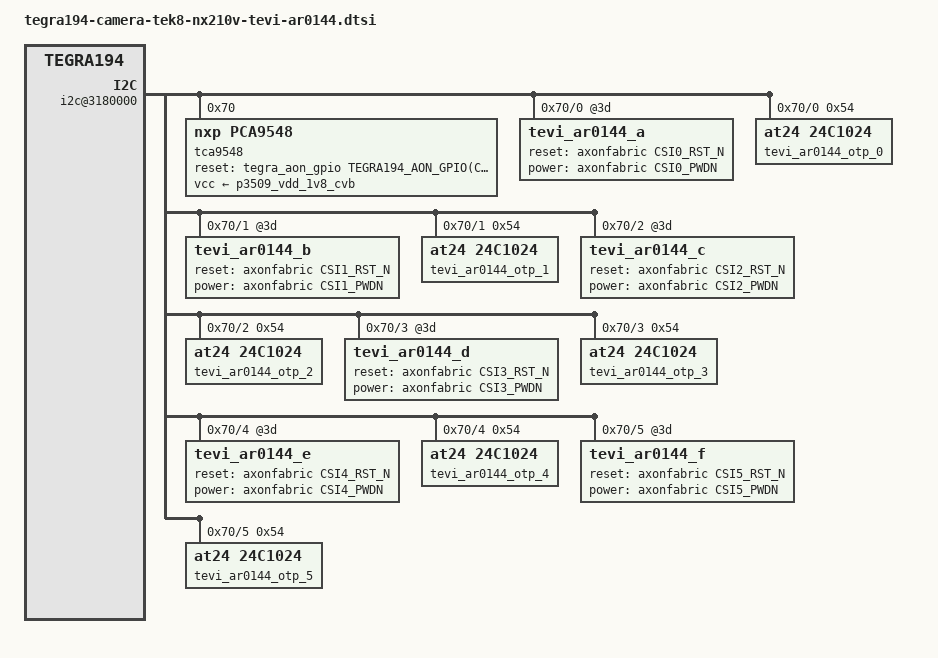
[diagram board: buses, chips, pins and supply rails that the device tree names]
/*
 * Copyright (c) 2021, NVIDIA CORPORATION.  All rights reserved.
 *
 * This program is free software; you can redistribute it and/or modify
 * it under the terms of the GNU General Public License as published by
 * the Free Software Foundation; either version 2 of the License, or
 * (at your option) any later version.
 *
 * This program is distributed in the hope that it will be useful, but WITHOUT
 * ANY WARRANTY; without even the implied warranty of MERCHANTABILITY or
 * FITNESS FOR A PARTICULAR PURPOSE.  See the GNU General Public License for
 * more details.
 *
 * You should have received a copy of the GNU General Public License
 * along with this program.  If not, see <http://www.gnu.org/licenses/>.
 */

#include "tegra194-camera-tek8-tevi-ar0144.dtsi"

//Define GPIO number for axonfabric
#define CSI0_RST_N	80
#define CSI0_PWDN       81
#define CSI1_RST_N	84
#define CSI1_PWDN       85
#define CSI2_RST_N	88
#define CSI2_PWDN       89
#define CSI3_RST_N      92
#define CSI3_PWDN       93
#define CSI4_RST_N	96
#define CSI4_PWDN       97
#define CSI5_RST_N      100
#define CSI5_PWDN       101
#define CAMERA_I2C_MUX_BUS(x) (0x1E + x)

/ {
	i2c@3180000 { /* cam_i2c */
		tca9548@70 {
			compatible = "nxp,pca9548";
			reg = <0x70>;
			#address-cells = <1>;
			#size-cells = <0>;
			reset-gpios = <&tegra_aon_gpio TEGRA194_AON_GPIO(CC, 3) GPIO_ACTIVE_LOW>;
			skip_mux_detect = "yes";
			vcc-supply = <&p3509_vdd_1v8_cvb>;
			vcc_lp = "vcc";
			force_bus_start = <CAMERA_I2C_MUX_BUS(0)>;

			i2c@0 {
				reg = <0>;
				i2c-mux,deselect-on-exit;
				#address-cells = <1>;
				#size-cells = <0>;
				tevi_ar0144_a@3d {
					reset-gpios = <&axonfabric CSI0_RST_N GPIO_ACTIVE_HIGH>;
					power-gpios = <&axonfabric CSI0_PWDN GPIO_ACTIVE_HIGH>;
					nvmem = <&tevi_ar0144_otp_0>;
					nvmem-names = "calib-data";
				};

				tevi_ar0144_otp_0: tevi_ar0144_otp@54 {
					compatible = "at24,24c1024";
					pagesize = <32>;
					reg = <0x54>;
				};
			};
			i2c@1 {
				reg = <1>;
				i2c-mux,deselect-on-exit;
				#address-cells = <1>;
				#size-cells = <0>;
				tevi_ar0144_b@3d {
					reset-gpios = <&axonfabric CSI1_RST_N GPIO_ACTIVE_HIGH>;
					power-gpios = <&axonfabric CSI1_PWDN GPIO_ACTIVE_HIGH>;
					nvmem = <&tevi_ar0144_otp_1>;
					nvmem-names = "calib-data";
				};

				tevi_ar0144_otp_1: tevi_ar0144_otp@54 {
					compatible = "at24,24c1024";
					pagesize = <32>;
					reg = <0x54>;
				};
			};
			i2c@2 {
				reg = <2>;
				i2c-mux,deselect-on-exit;
				#address-cells = <1>;
				#size-cells = <0>;
				tevi_ar0144_c@3d {
					reset-gpios = <&axonfabric CSI2_RST_N GPIO_ACTIVE_HIGH>;
					power-gpios = <&axonfabric CSI2_PWDN GPIO_ACTIVE_HIGH>;
					nvmem = <&tevi_ar0144_otp_2>;
					nvmem-names = "calib-data";
				};

				tevi_ar0144_otp_2: tevi_ar0144_otp@54 {
					compatible = "at24,24c1024";
					pagesize = <32>;
					reg = <0x54>;
				};
			};
                        i2c@3 {
                                reg = <3>;
                                i2c-mux,deselect-on-exit;
                                #address-cells = <1>;
                                #size-cells = <0>;
                                tevi_ar0144_d@3d {
                                        reset-gpios = <&axonfabric CSI3_RST_N GPIO_ACTIVE_HIGH>;
                                        power-gpios = <&axonfabric CSI3_PWDN GPIO_ACTIVE_HIGH>;
                                        nvmem = <&tevi_ar0144_otp_3>;
                                        nvmem-names = "calib-data";
                                };

                                tevi_ar0144_otp_3: tevi_ar0144_otp@54 {
                                        compatible = "at24,24c1024";
                                        pagesize = <32>;
                                        reg = <0x54>;
                                };
                        };
			i2c@4{
				reg = <4>;
				i2c-mux,deselect-on-exit;
				#address-cells = <1>;
				#size-cells = <0>;
				tevi_ar0144_e@3d {
					reset-gpios = <&axonfabric CSI4_RST_N GPIO_ACTIVE_HIGH>;
					power-gpios = <&axonfabric CSI4_PWDN GPIO_ACTIVE_HIGH>;
					nvmem = <&tevi_ar0144_otp_4>;
					nvmem-names = "calib-data";
				};

				tevi_ar0144_otp_4: tevi_ar0144_otp@54 {
					compatible = "at24,24c1024";
					pagesize = <32>;
					reg = <0x54>;
				};
			};
                        i2c@5{
                                reg = <5>;
                                i2c-mux,deselect-on-exit;
                                #address-cells = <1>;
                                #size-cells = <0>;
                                tevi_ar0144_f@3d {
                                        reset-gpios = <&axonfabric CSI5_RST_N GPIO_ACTIVE_HIGH>;
                                        power-gpios = <&axonfabric CSI5_PWDN GPIO_ACTIVE_HIGH>;
                                        nvmem = <&tevi_ar0144_otp_5>;
                                        nvmem-names = "calib-data";
                                };

                                tevi_ar0144_otp_5: tevi_ar0144_otp@54 {
                                        compatible = "at24,24c1024";
                                        pagesize = <32>;
                                        reg = <0x54>;
                                };
                        };
		};
	};
};
